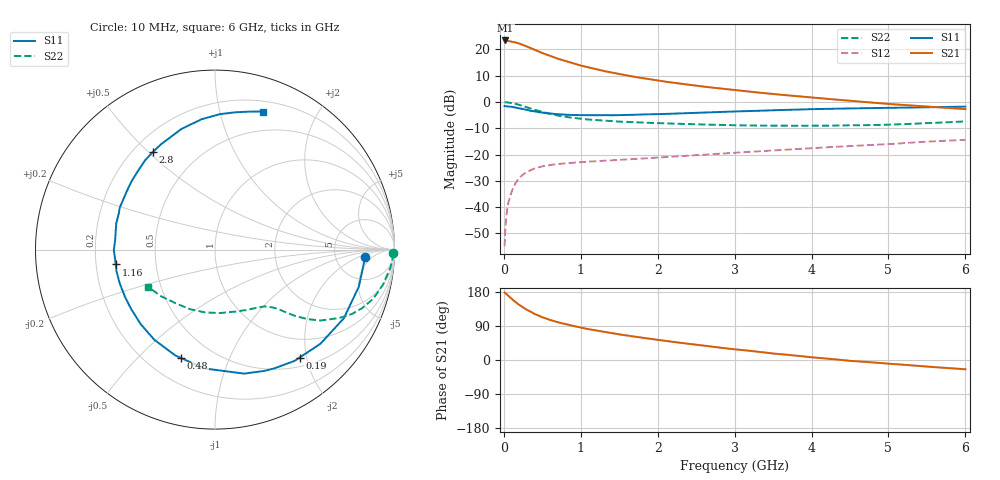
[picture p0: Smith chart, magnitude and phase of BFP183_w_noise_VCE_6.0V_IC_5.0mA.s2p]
! Infineon Technologies  Discrete & RF Semiconductors
! BFP183
! VCE = 6.0 V,  IC =  5.0 mA
! Common Emitter S-Parameters:  Jan 2016
# GHz  S  MA  R  50
!  f  S11  S21  S12  S22
! GHz  MAG  ANG  MAG  ANG  MAG  ANG  MAG  ANG
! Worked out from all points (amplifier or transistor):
!   210 points, 10 MHz to 6 GHz, reference 50 ohm
!   highest |S21| = 23.4 dB at 20 MHz (marker M1)
!   |S21| within 3 dB of that: start of sweep to 355.6 MHz
!   unconditionally stable (mu >= 1): 1.624 GHz to 5.792 GHz
!   at 185 MHz: K = 0.16, MSG = 25.9 dB, |S12| = -29.5 dB
!   at 1.52 GHz: K = 0.97, MSG = 16.3 dB, |S12| = -22.0 dB
!   at 6 GHz: K = 0.96, MSG = 5.8 dB, |S12| = -14.4 dB
!   lowest NFmin = 1.15 dB at 450 MHz
!   S11 on the Smith chart (normalised r, x): 10 MHz: 10, -3; 190 MHz: 0.65, -1.88; 480 MHz: 0.34, -0.68; 1.16 GHz: 0.28, -0.07; 2.8 GHz: 0.28, +0.52; 6 GHz: 0.30, +1.37
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0.01  0.8371 -2.9  14.76 178.1  0.0018 85.6  0.9926 -1.2
0.02  0.8319 -6.0  14.83 176.7  0.0038 85.1  0.9915 -2.5
0.05  0.8277 -14.4  14.64 170.6  0.0105 84.7  0.9819 -6.0
0.1  0.8135 -28.1  14.12 161.9  0.0193 75.6  0.9561 -11.8
0.15  0.7874 -41.9  13.64 153.2  0.0282 68.3  0.9235 -17.2
0.19  0.764 -51.9  13.07 147.1  0.0342 63.9  0.8902 -20.8
0.24  0.7397 -63.5  12.27 139.9  0.0405 59.0  0.8461 -24.9
0.3  0.7097 -76.8  11.41 132.5  0.0468 53.6  0.7888 -28.9
0.4  0.6648 -95.1  9.861 121.4  0.0543 46.2  0.71 -33.8
0.48  0.633 -107.3  8.787 114.7  0.0584 42.0  0.658 -36.2
0.6  0.6059 -123.8  7.584 105.7  0.0633 37.8  0.5931 -39.1
0.7  0.5864 -134.9  6.676 99.7  0.0658 35.3  0.5517 -40.6
0.8  0.5724 -144.7  6.029 94.4  0.0679 33.6  0.5219 -41.7
1.02  0.5622 -162.0  4.858 84.7  0.0718 31.2  0.4763 -43.7
1.16  0.5591 -171.5  4.335 79.4  0.0741 30.1  0.4567 -45.0
1.5  0.5623 169.9  3.411 67.6  0.0789 30.0  0.4228 -48.5
2.02  0.5879 147.5  2.533 52.7  0.0879 30.5  0.3958 -55.4
2.8  0.6458 122.3  1.816 32.6  0.1033 30.9  0.368 -69.7
3.1  0.6653 114.5  1.627 26.2  0.1102 30.8  0.3581 -76.2
4.1  0.7339 94.3  1.183 5.5  0.1348 28.1  0.3537 -101.6
5.1  0.7768 80.4  0.896 -11.1  0.161 24.6  0.3738 -128.6
6  0.8149 70.7  0.732 -24.5  0.1904 18.1  0.4269 -151.0
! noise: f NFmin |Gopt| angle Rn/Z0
0.45  1.15  0.25  40  0.26
0.9  1.2  0.25  93  0.22
1.8  1.95  0.32  170  0.13
